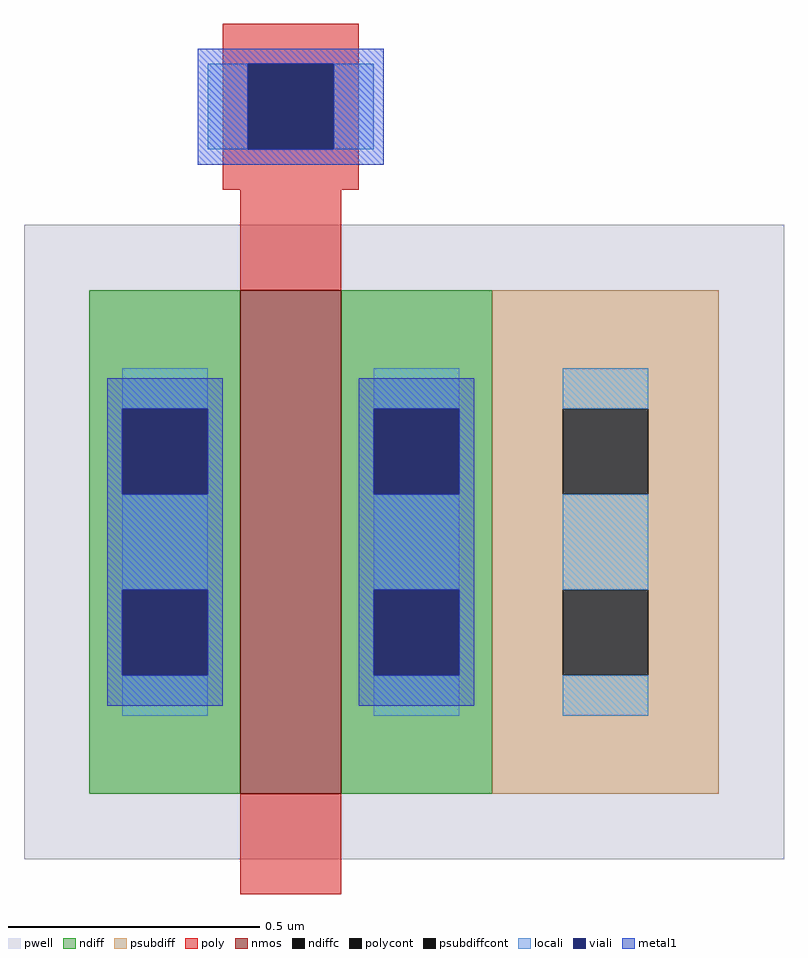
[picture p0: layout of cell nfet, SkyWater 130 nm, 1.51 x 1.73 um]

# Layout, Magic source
magic
tech sky130A
magscale 1 2
<< pwell >>
rect -26 -26 276 226
<< nmos >>
rect 60 0 100 200
<< ndiff >>
rect 0 153 60 200
rect 0 119 13 153
rect 47 119 60 153
rect 0 81 60 119
rect 0 47 13 81
rect 47 47 60 81
rect 0 0 60 47
rect 100 153 160 200
rect 100 119 113 153
rect 147 119 160 153
rect 100 81 160 119
rect 100 47 113 81
rect 147 47 160 81
rect 100 0 160 47
<< ndiffc >>
rect 13 119 47 153
rect 13 47 47 81
rect 113 119 147 153
rect 113 47 147 81
<< psubdiff >>
rect 160 153 250 200
rect 160 119 188 153
rect 222 119 250 153
rect 160 81 250 119
rect 160 47 188 81
rect 222 47 250 81
rect 160 0 250 47
<< psubdiffcont >>
rect 188 119 222 153
rect 188 47 222 81
<< poly >>
rect 53 290 107 306
rect 53 256 63 290
rect 97 256 107 290
rect 53 240 107 256
rect 60 200 100 240
rect 60 -40 100 0
<< polycont >>
rect 63 256 97 290
<< locali >>
rect 47 256 63 290
rect 97 256 113 290
rect 13 153 47 169
rect 13 81 47 119
rect 13 31 47 47
rect 113 153 147 169
rect 113 81 147 119
rect 113 31 147 47
rect 188 153 222 169
rect 188 81 222 119
rect 188 31 222 47
<< viali >>
rect 63 256 97 290
rect 13 119 47 153
rect 13 47 47 81
rect 113 119 147 153
rect 113 47 147 81
<< metal1 >>
rect 43 290 117 296
rect 43 256 63 290
rect 97 256 117 290
rect 43 250 117 256
rect 7 153 53 165
rect 7 119 13 153
rect 47 119 53 153
rect 7 81 53 119
rect 7 47 13 81
rect 47 47 53 81
rect 7 35 53 47
rect 107 153 153 165
rect 107 119 113 153
rect 147 119 153 153
rect 107 81 153 119
rect 107 47 113 81
rect 147 47 153 81
rect 107 35 153 47
<< end >>
